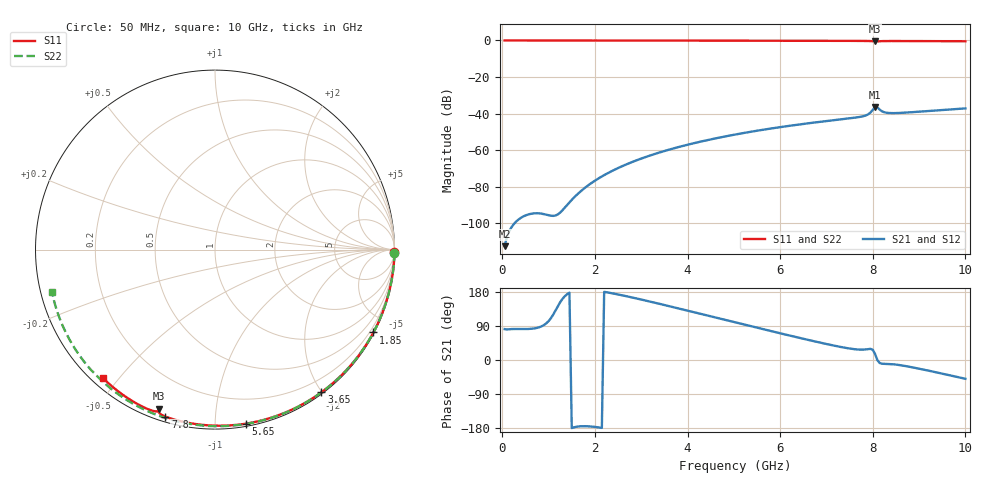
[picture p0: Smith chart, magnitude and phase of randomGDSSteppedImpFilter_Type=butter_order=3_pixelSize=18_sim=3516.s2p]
! freq	dB(S11)	phase(S11)	dB(S12)	phase(S12)
!  dB(S21)	phase(S21)	dB(S22)	phase(S22)
!S-par simulation data
#  GHz  S  DB  R 50
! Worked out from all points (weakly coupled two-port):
!   200 points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, 50 MHz to 10 GHz, reference 50 ohm
!   highest |S21| = -36.38 dB at 8.05 GHz (marker M1); lowest = -112.5 dB at 50 MHz (marker M2)
!   lowest |S11| = -0.5 dB at 8.05 GHz (marker M3), VSWR 32.19, Z = 2.33 - j35.3 ohm
!   |S11| at or under -10 dB: nowhere
!   |S22| runs from -0.6 to 0.0 dB; largest |S21 - S12| = 0
!   S11 on the Smith chart (normalised r, x): 50 MHz: open; 1.85 GHz: 0.04, -4.07; 3.65 GHz: 0.02, -1.99; 5.65 GHz: 0.02, -1.20; 7.8 GHz: 0.02, -0.75; 10 GHz: 0.03, -0.45
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0.05  -0.00 -0.8  -112.50 81.5  -112.50 81.5  -0.00 -0.9
0.9  -0.02 -13.6  -94.97 92.3  -94.97 92.3  -0.02 -16.9
1.75  -0.03 -26.2  -81.29 -174.6  -81.29 -174.6  -0.04 -32.5
1.8  -0.03 -26.9  -80.28 -174.7  -80.28 -174.7  -0.04 -33.4
1.85  -0.04 -27.6  -79.32 -174.9  -79.32 -174.9  -0.04 -34.3
2.15  -0.04 -32.0  -74.36 -179.1  -74.36 -179.1  -0.05 -39.7
2.5  -0.05 -37.0  -69.78 173.0  -69.78 173.0  -0.06 -46.0
2.9  -0.06 -42.8  -65.54 162.4  -65.54 162.4  -0.07 -53.0
3.4  -0.07 -49.8  -61.22 148.1  -61.22 148.1  -0.08 -61.6
3.65  -0.07 -53.3  -59.37 140.7  -59.37 140.7  -0.09 -65.9
4.3  -0.09 -62.1  -55.23 121.3  -55.23 121.3  -0.11 -76.8
5.05  -0.11 -72.1  -51.35 98.7  -51.35 98.7  -0.14 -88.9
5.65  -0.13 -79.8  -48.76 80.8  -48.76 80.8  -0.17 -98.4
6.7  -0.18 -92.9  -45.01 50.4  -45.01 50.4  -0.23 -114.7
7.8  -0.26 -106.5  -41.39 27.4  -41.39 27.4  -0.31 -131.3
7.95  -0.33 -108.7  -39.45 29.4  -39.45 29.4  -0.33 -133.6
8.05  -0.54 -109.5  -36.38 15.6  -36.38 15.6  -0.33 -135.0
8.1  -0.52 -109.0  -36.61 -0.4  -36.61 -0.4  -0.33 -135.8
8.2  -0.36 -109.9  -38.75 -9.9  -38.75 -9.9  -0.34 -137.4
8.35  -0.32 -111.9  -39.68 -10.4  -39.68 -10.4  -0.36 -139.6
9.2  -0.37 -122.0  -38.58 -28.0  -38.58 -28.0  -0.45 -152.7
10  -0.45 -131.0  -37.15 -49.6  -37.15 -49.6  -0.55 -165.3
